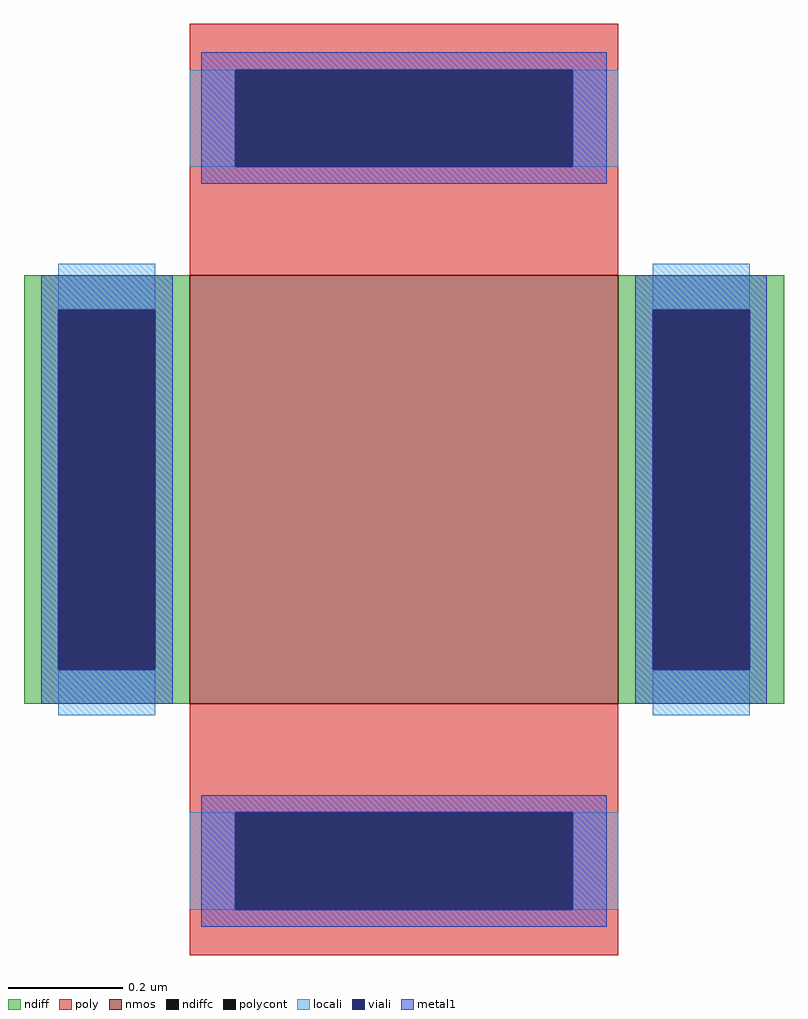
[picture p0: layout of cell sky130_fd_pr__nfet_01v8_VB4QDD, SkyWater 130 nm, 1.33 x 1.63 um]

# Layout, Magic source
magic
tech sky130A
magscale 1 2
<< nmos >>
rect -75 -75 75 75
<< ndiff >>
rect -133 63 -75 75
rect -133 -63 -121 63
rect -87 -63 -75 63
rect -133 -75 -75 -63
rect 75 63 133 75
rect 75 -63 87 63
rect 121 -63 133 63
rect 75 -75 133 -63
<< ndiffc >>
rect -121 -63 -87 63
rect 87 -63 121 63
<< poly >>
rect -75 147 75 163
rect -75 113 -59 147
rect 59 113 75 147
rect -75 75 75 113
rect -75 -113 75 -75
rect -75 -147 -59 -113
rect 59 -147 75 -113
rect -75 -163 75 -147
<< polycont >>
rect -59 113 59 147
rect -59 -147 59 -113
<< locali >>
rect -75 113 -59 147
rect 59 113 75 147
rect -121 63 -87 79
rect -121 -79 -87 -63
rect 87 63 121 79
rect 87 -79 121 -63
rect -75 -147 -59 -113
rect 59 -147 75 -113
<< viali >>
rect -59 113 59 147
rect -121 -63 -87 63
rect 87 -63 121 63
rect -59 -147 59 -113
<< metal1 >>
rect -71 147 71 153
rect -71 113 -59 147
rect 59 113 71 147
rect -71 107 71 113
rect -127 63 -81 75
rect -127 -63 -121 63
rect -87 -63 -81 63
rect -127 -75 -81 -63
rect 81 63 127 75
rect 81 -63 87 63
rect 121 -63 127 63
rect 81 -75 127 -63
rect -71 -113 71 -107
rect -71 -147 -59 -113
rect 59 -147 71 -113
rect -71 -153 71 -147
<< properties >>
string gencell sky130_fd_pr__nfet_01v8
string library sky130
string parameters w 0.75 l 0.75 m 1 nf 1 diffcov 100 polycov 100 guard 0 glc 1 grc 1 gtc 1 gbc 1 tbcov 100 rlcov 100 topc 1 botc 1 poverlap 0 doverlap 1 lmin 0.15 wmin 0.42 compatible {sky130_fd_pr__nfet_01v8 sky130_fd_pr__nfet_01v8_lvt  sky130_fd_bs_flash__special_sonosfet_star  sky130_fd_pr__nfet_g5v0d10v5 sky130_fd_pr__nfet_05v0_nvt  sky130_fd_pr__nfet_03v3_nvt} full_metal 1 viasrc 100 viadrn 100 viagate 100 viagb 0 viagr 0 viagl 0 viagt 0
<< end >>
